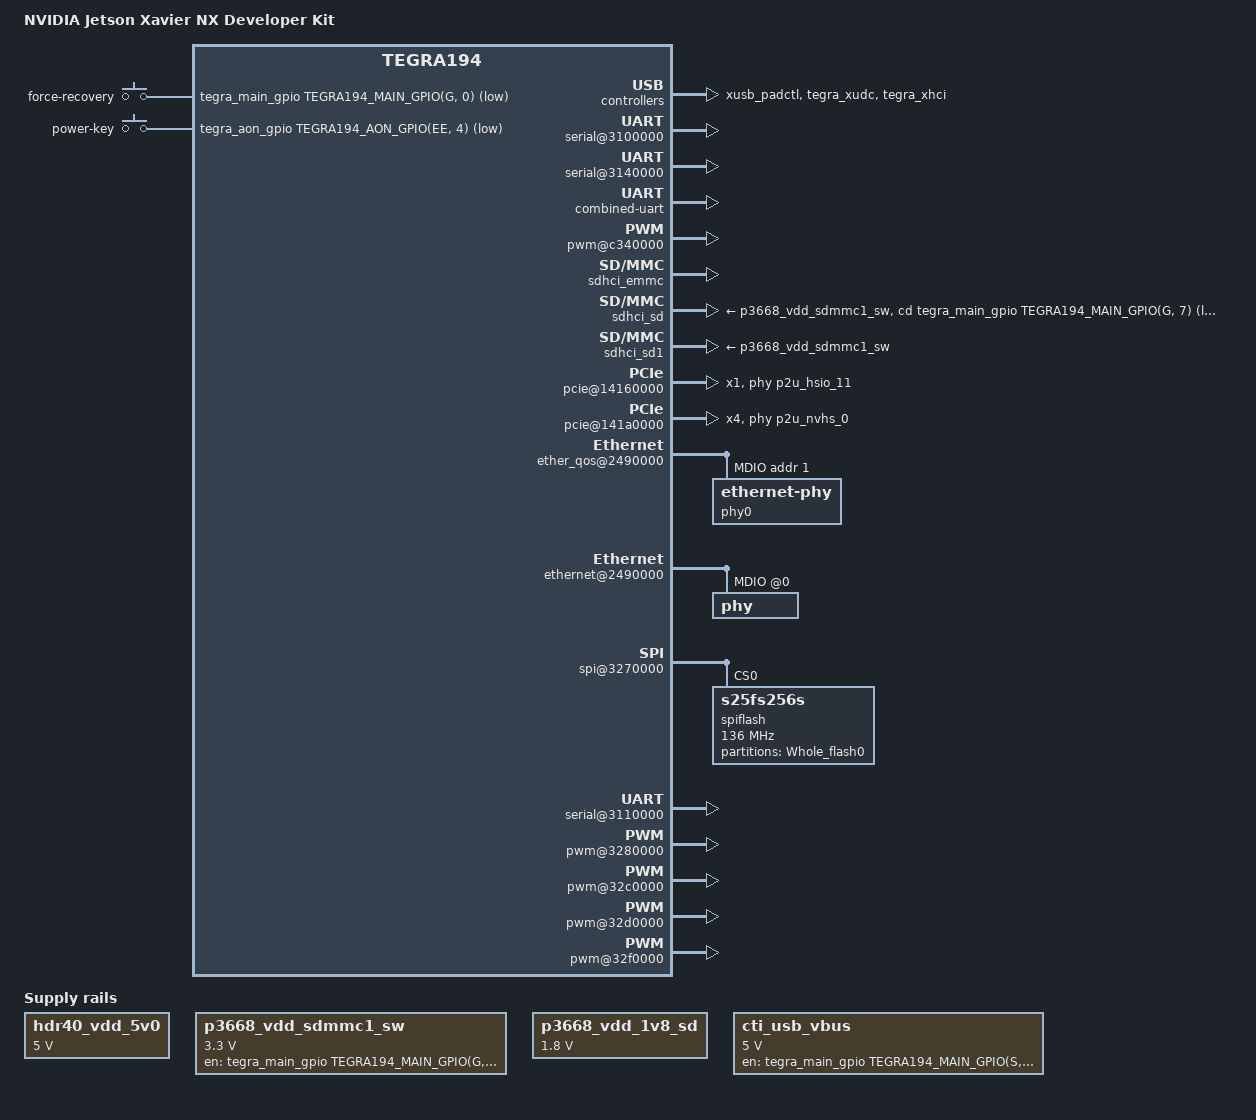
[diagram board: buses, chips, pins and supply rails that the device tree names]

#include <dt-bindings/gpio/tegra194-gpio.h>
#include "dt-bindings/input/input.h"
#include "dt-bindings/extcon-ids.h"
#include "dt-bindings/gpio/tegra194-gpio.h"
#include <dt-bindings/pwm/pwm.h>

#include <tegra194-soc/tegra194-soc-cvm.dtsi>
#include <t19x-common-platforms/tegra194-platforms-eqos.dtsi>
#include "../common/tegra194-powermon-p3668.dtsi"
#include "cti_common/tegra194-nx-cti-power-tree.dtsi"
#include "../common/tegra194-thermal-p3668.dtsi"
#include <t19x-common-platforms/tegra194-no-pll-aon-clock.dtsi>
#include "../common/tegra194-p3509-disp.dtsi"
#include "../common/tegra194-audio-p3668.dtsi"


/ {
	nvidia,fastboot-usb-vid = <0x0955>;
	nvidia,fastboot-usb-pid = <0xee1e>;
	model = "NVIDIA Jetson Xavier NX Developer Kit";
	
	nvidia,dtbbuildtime = __DATE__, __TIME__;
	compatible = "nvidia,p3509-0000+p3668-0000", "nvidia,p3509-0000+p3668-0001", "nvidia,p3509-0000-a00+p3668-0001-a00", "nvidia,tegra194";
	
       aliases {
                rtc0 = &tegra_rtc;
                rtc1 = &p3668_spmic;
        };

	chosen {
		bootargs ="console=ttyTCU0,115200";
		board-has-eeprom;
		nvidia,tegra-joint_xpu_rail;
	};

	nvsciipc-kernel {
		compatible = "nvidia,nvsciipc";
		status = "okay";
	};

	cpufreq {
		compatible = "nvidia,tegra194-cpufreq";
		status = "okay";
		cpu_emc_map = <1907200 1600000>,
			    <1881600 800000>,
			    <1574400 665000>,
			    <1267200 408000>,
			    <115200 204000>;
	};
#if defined(LINUX_VERSION) && LINUX_VERSION > 414
	ccplex {
		compatible = "nvidia,tegra194-ccplex";
		cpu_emc_map = <1907200 1600000>,
			    <1881600 800000>,
			    <1574400 665000>,
			    <1267200 408000>,
			    <115200 204000>;
	};
#endif

    pmc@c360000 {
		nvidia,invert-interrupt;
	};

	pmc@c360000 {
		iopad_defaults: iopad-defaults {
			sdmmc-io-pads {
				pins = "sdmmc1-hv", "sdmmc3-hv";
				nvidia,enable-voltage-switching;
			};
		};
	};


	xusb_padctl: xusb_padctl@3520000 {
		status = "okay";

		pads {
			usb2 {
				lanes {
					usb2-0 {
						nvidia,function = "xusb";
						status = "okay";
					};
					usb2-1 {
						nvidia,function = "xusb";
						status = "okay";
					};
					usb2-2 {
						nvidia,function = "xusb";
						status = "okay";
					};
				};
			};
			usb3 {
				lanes {
					usb3-0 {
						nvidia,function = "xusb";
						status = "disabled";
					};
					usb3-1 {
						nvidia,function = "xusb";
						status = "disabled";
					};
					usb3-2 {
						nvidia,function = "xusb";
						status = "okay";
					};
				};
			};
		};
		ports {
			usb2-0 {
				mode = "host";
				status = "okay";
			};
			usb2-1 {
				mode = "host";
				status = "okay";
			};
			usb2-2 {
				mode = "host";
				vbus-supply = <&battery_reg>;
				status = "okay";
			};
			usb3-2 {
				nvidia,usb2-companion = <0>;
				status = "okay";
			};
		};


	};

	tegra_xudc: xudc@3550000 {
		nvidia,xusb-padctl = <&xusb_padctl>;
		nvidia,boost_cpu_freq = <1200>;
		status = "okay";
	};

	tegra_xhci: xhci@3610000 {
		nvidia,xusb-padctl = <&xusb_padctl>;
		status = "okay";
	};

	/* Below node can be moved to cvb to make decision about enabling/disabling */
	arm-pmu {
		status = "okay";
	};

	power-domain {
		status = "okay";
	};

	interrupt-controller {
		status = "okay";
	};

	mods-simple-bus {
		status = "okay";
	};

	cpuidle {
		compatible = "nvidia,tegra19x-cpuidle";
		status = "okay";
	};

	thermal-zones {
		status = "okay";
	};

	reserved-memory {
		ramoops_carveout {
			status = "okay";
		};
	};

	mttcan@c310000 {
		status = "disabled";
		pll_source = "pllc";
		clocks = <&bpmp_clks TEGRA194_CLK_CAN1_CORE>,
			<&bpmp_clks TEGRA194_CLK_CAN1_HOST>,
			<&bpmp_clks TEGRA194_CLK_CAN1>,
			<&bpmp_clks TEGRA194_CLK_PLLC>;
		clock-names = "can_core", "can_host","can", "pllc";
	};

	mttcan@c320000 {
		status = "disabled";
	};

	host1x@13e00000 {
		dpaux@155F0000 {
			status = "okay";
			compatible = "nvidia,tegra194-dpaux3-padctl";
			/delete-property/ power-domains;
			dpaux_default: pinmux@0 {
				dpaux3_pins {
					pins = "dpaux3-3";
					function = "i2c";
				};
			};
		};
	};

	hardwood {
		compatible = "nvidia,denver-hardwood";
		interrupts = <0 24 0x4>;
	};

	pfsd {
		pwm_polarity= <PWM_POLARITY_NORMAL>;
		suspend_state = <0>;
	};

	serial@3100000 {
		compatible = "nvidia,tegra186-hsuart";
		status = "okay";
	};

	serial@3140000 {
		compatible = "nvidia,tegra186-hsuart";
		status = "okay";
	};

	combined-uart {
		console-port;
		combined-uart;
		status = "okay";
	};

	pwm@c340000 {
		status = "okay";
	};

	sdhci_emmc: sdhci@3460000 {
		uhs-mask = <0x0>;
		supports-cqe;
		status = "okay";
	};

	sdhci_sd: sdhci@3400000 {
		mmc-ocr-mask = <0x0>;
		cd-inverted;
		cd-gpios = <&tegra_main_gpio TEGRA194_MAIN_GPIO(G, 7) 0>;
		nvidia,cd-wakeup-capable;
		mmc-ocr-mask = <0>;
		cd-inverted;
		vmmc-supply = <&p3668_vdd_sdmmc1_sw>;
		status = "okay";
	};
	
	sdhci_sd1: sdhci@3440000 {
        status = "okay";
        keep-power-in-suspend;
        /delete-property/ non-removable;
        /delete-property/ mmc-ddr-1_8v;
        mmc-ocr-mask = <0>;
        sd-uhs-sdr104;
        sd-uhs-sdr50;
        sd-uhs-sdr25;
        sd-uhs-sdr12;
        uhs-mask = <0x8>;
        max-clk-limit = <208000000>;
        tap-delay = <3>;
        cd-inverted;
        nvidia,cd-wakeup-capable;
        vmmc-supply = <&p3668_vdd_sdmmc1_sw>;
        nvidia,qvmmc-always-on;
    };

	tegra-hsp@b950000 {
		status = "okay";
	};

	rtcpu@bc00000 {
		status = "okay";
		nvidia,cmd-timeout = <2000>;
	};

	tegra-capture-vi {
		status = "okay";
	};

//pcie1
	pcie@14160000 {
		status = "okay";

		nvidia,pex-wake = <&tegra_main_gpio TEGRA194_MAIN_GPIO(L, 2)
					GPIO_ACTIVE_HIGH>;
		vddio-pex-ctl-supply = <&p3668_spmic_sd3>;
		nvidia,disable-aspm-states = <0xf>;
		nvidia,enable-power-down;
		nvidia,max-speed = <3>;

		num-lanes = <1>;
		phys = <&p2u_hsio_11>;
		phy-names = "p2u-0";
	};
//pcie0
	pcie@141a0000 {
		status = "okay";

		vddio-pex-ctl-supply = <&p3668_spmic_sd3>;
		nvidia,disable-aspm-states = <0xf>;
		nvidia,enable-power-down;
		nvidia,max-speed = <3>;
        num-lanes = <4>;
		phys = <&p2u_nvhs_0>, <&p2u_nvhs_1>, <&p2u_nvhs_2>, <&p2u_nvhs_3>;
		phy-names = "p2u-0", "p2u-1", "p2u-2", "p2u-3";
	};

	pcie_ep@141a0000 {
		status = "disabled";

		nvidia,disable-aspm-states = <0xf>;

		vddio-pex-ctl-supply = <&p3668_spmic_sd3>;

		reset-gpios = <&tegra_main_gpio TEGRA194_MAIN_GPIO(GG, 1) GPIO_ACTIVE_LOW>;
		nvidia,refclk-select-gpios = <&tegra_aon_gpio TEGRA194_AON_GPIO(AA, 5)
							      GPIO_ACTIVE_HIGH>;
		phys = <&p2u_nvhs_0>, <&p2u_nvhs_1>, <&p2u_nvhs_2>, <&p2u_nvhs_3>,
		       <&p2u_nvhs_4>, <&p2u_nvhs_5>, <&p2u_nvhs_6>, <&p2u_nvhs_7>;
		phy-names = "p2u-0", "p2u-1", "p2u-2", "p2u-3",
			    "p2u-4", "p2u-5", "p2u-6", "p2u-7";

	};

	eeprom-manager {
		data-size = <0x100>;
		bus@0 {
			i2c-bus = <&gen1_i2c>;
			eeprom@0 {
				slave-address = <0x50>;
				label = "cvm";
			};
		};
	};

	hdr40_i2c1: i2c@31e0000 {
		pinctrl-names = "default";
		pinctrl-0 = <&dpaux_default>;
	};

	host1x@13e00000 {
		dpaux@155F0000 {
			status = "okay";
			compatible = "nvidia,tegra194-dpaux3-padctl";
			dpaux_default: pinmux@0 {
				dpaux3_pins {
					pins = "dpaux3-3";
					function = "i2c";
				};
			};
		};
	};

	dpaux3 {
		compatible = "nvidia,tegra194-dpaux3-pinctrl";
		status = "okay";
	};


	ether_qos@2490000 {
		nvidia,phy-reset-gpio = <&tegra_main_gpio TEGRA194_MAIN_GPIO(R, 1) 0>;
		nvidia,phy-reset-post-delay = <224>;
		nvidia,phy-reset-duration = <10000>;
                mdio {
                        compatible = "nvidia,eqos-mdio";
                        #address-cells = <1>;
                        #size-cells = <0>;
                        phy0: ethernet-phy@0 {
                                reg = <1>;
			};
		};
	};

    ethernet@2490000{ //fix for ethernet exception on reboot
        mdio {
            phy@0{
                /delete-property/ interrupt-parent;
                /delete-property/ interrupts; 
            };
        };
    };

	/* QSPI flash S25FS128SAGNFI103 is controlled by qspi0 */
	spi@3270000 {
		spi-max-frequency = <136000000>;
		status = "okay";
		prod-settings {
			#prod-cells = <3>;
			prod {
				prod = <0x04 0x000000ff 0x10>;
			};
		};
		/* QSPI NOR */
		spiflash@0 {
			#address-cells = <1>;
			#size-cells = <1>;
			compatible = "s25fs256s";
			reg = <0>;
			spi-max-frequency = <136000000>;
			partition@0 {
				label = "Whole_flash0";
				reg = <0x00000000 0x2000000>;	/* size of QSPI-NOR 32MB == 256Mb */
			};
			controller-data {
				nvidia,x1-len-limit = <16>;
				nvidia,x1-bus-speed = <136000000>; /* In Mhz */
				nvidia,x1-dymmy-cycle = <8>;
				nvidia,x4-bus-speed = <136000000>;
				nvidia,x4-dymmy-cycle = <8>;
				nvidia,x4-is-ddr=<0>;
				nvidia,ctrl-bus-clk-ratio = <1>;
			};
		};
	};

	gpio-keys {
		compatible = "gpio-keys";
		gpio-keys,name = "gpio-keys";

		forcerecovery {
			label = "force-recovery";
			gpios = <&tegra_main_gpio TEGRA194_MAIN_GPIO(G, 0) GPIO_ACTIVE_LOW>;
			linux,code = <BTN_1>;
		};

		power_key {
			label = "power-key";
			gpios = <&tegra_aon_gpio TEGRA194_AON_GPIO(EE, 4) GPIO_ACTIVE_LOW>;
			linux,code = <KEY_POWER>;
			gpio-key,wakeup;
		};
	};

	pwm-fan {
		pwms = <&tegra_pwm6 0 45334>;
		vdd-fan-supply = <&p3509_vdd_fan>;
		profiles {
			default = "quiet";
			quiet {
				state_cap = <4>;
				active_pwm = <0 130 160 200 255 255 255 255 255 255>;
			};
			cool {
				state_cap = <4>;
				active_pwm = <0 140 170 200 255 255 255 255 255 255>;
			};
		};
	};
	thermal-fan-est {
		profiles {
			default = "quiet";
			quiet {
				active_trip_temps = <0 46000 60000 68000 76000
						140000 150000 160000 170000 180000>;
				active_hysteresis = <0 8000 8000 7000 7000
						0 0 0 0 0>;
			};
			cool {
				active_trip_temps = <0 35000 45000 53000 61000
						140000 150000 160000 170000 180000>;
				active_hysteresis = <0 8000 8000 7000 7000
						0 0 0 0 0>;
			};
		};
	};
	serial@3110000 {
		status = "okay";
	};
	tachometer@39c0000 {
		status = "okay";
	};
	pwm@3280000 {
		status = "okay";
	};

	pwm@32c0000 {
		status = "okay";
	};

	pwm@32d0000 {
		status = "okay";
	};

	pwm@32f0000 {
		status = "okay";
	};
	spi@c260000 {
		status = "disabled";
	};

	spi@3300000 {
		status = "disabled";
	};
  
     nvpmodel {
           status = "okay";
     };
	
	soctherm-oc-event {
		status = "okay";
	};
	
	fixed-regulators {
		hdr40_vdd_5v0: battery_reg: regulator@0 {
			compatible = "regulator-fixed";
			reg = <0>;
			regulator-name = "vdd-ac-bat";
			regulator-min-microvolt = <5000000>;
			regulator-max-microvolt = <5000000>;
			regulator-always-on;
		};

		p3668_vdd_sdmmc1_sw: regulator@106 {
			compatible = "regulator-fixed";
			reg = <106>;
			regulator-name = "vdd-sdmmc1-sw";
			regulator-min-microvolt = <3300000>;
			regulator-max-microvolt = <3300000>;
			gpio = <&tegra_main_gpio TEGRA194_MAIN_GPIO(G, 2) 0>;
			enable-active-high;
		};

		p3668_vdd_1v8_sd: regulator@104 {
			compatible = "regulator-fixed";
			reg = <104>;
			regulator-name = "vdd-1v8-sd";
			regulator-min-microvolt = <1800000>;
			regulator-max-microvolt = <1800000>;
			enable-active-high;
		};
		
		cti_usb_vbus: regulator@200 {
            compatible = "regulator-fixed";
			reg = <200>;
            regulator-name = "cti-usb-vbus";
            regulator-min-microvolt = <5000000>;
            regulator-max-microvolt = <5000000>;
            gpio = <&tegra_main_gpio TEGRA194_MAIN_GPIO(S, 4) 0>; //GPIO09
            enable-active-high;
            //regulator-boot-on;
			regulator-always-on;
        };
	};

};


#if LINUX_VERSION >= 414
#include <tegra194-linux-4.14.dtsi>
#endif

